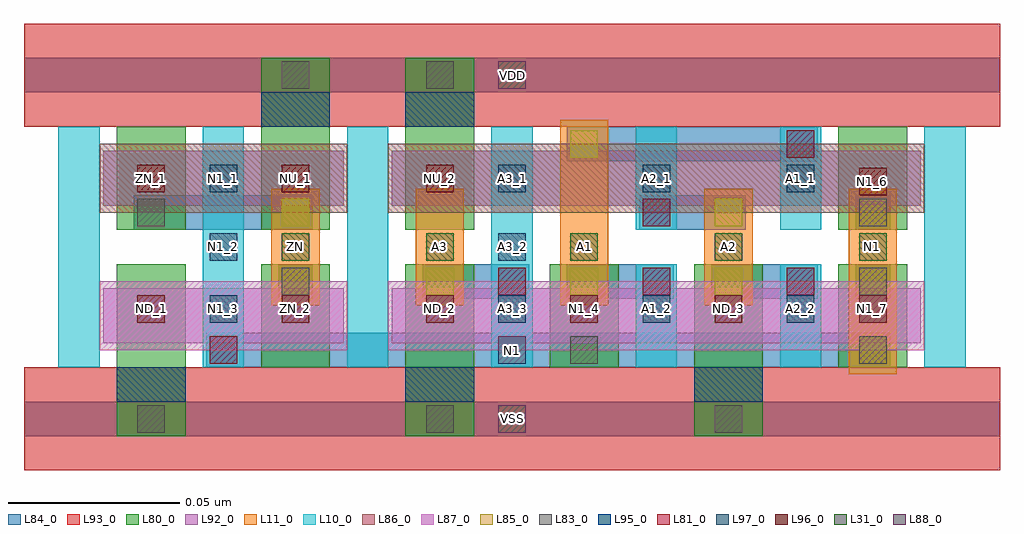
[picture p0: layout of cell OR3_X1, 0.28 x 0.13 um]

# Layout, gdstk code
import gdstk
lib = gdstk.Library(unit=1e-6, precision=1e-09)
def R(c, l, rs):  # rectangles x0, y0, x1, y1
    for r in rs: c.add(gdstk.rectangle(r[:2], r[2:], *l))
def A(c, l, x, y, w, h, nx, ny, dx, dy):  # array of equal rectangles
    R(c, l, [(x+i*dx, y+j*dy, x+i*dx+w, y+j*dy+h) for i in range(nx) for j in range(ny)])
L10_0 = (10, 0)
L11_0 = (11, 0)
L31_0 = (31, 0)
L80_0 = (80, 0)
L81_0 = (81, 0)
L83_0 = (83, 0)
L84_0 = (84, 0)
L85_0 = (85, 0)
L86_0 = (86, 0)
L87_0 = (87, 0)
L88_0 = (88, 0)
L92_0 = (92, 0)
L93_0 = (93, 0)
L95_0 = (95, 0)
L96_0 = (96, 0)
L97_0 = (97, 0)

or3_x1 = lib.new_cell('OR3_X1')
A(or3_x1, L10_0, -0.027, 0.015, 0.012, 0.07, 4, 1, 0.042, 0)
R(or3_x1, L10_0, [(0.141,0.015,0.153,0.045), (0.183,0.015,0.195,0.045), (0.225,0.015,0.237,0.085), (0.141,0.055,0.153,0.085), (0.183,0.055,0.195,0.085)])
A(or3_x1, L11_0, 0.035, 0.033, 0.014, 0.034, 3, 1, 0.042, 0)
R(or3_x1, L11_0, [(0.203,0.013,0.217,0.047), (0.203,0.013,0.217,0.047), (0.035,0.033,0.049,0.067), (0.119,0.033,0.133,0.067), (0.161,0.033,0.175,0.067), (0.161,0.033,0.175,0.067), (0.203,0.033,0.217,0.067), (0.203,0.033,0.217,0.067), (0.119,0.053,0.133,0.087), (0.119,0.053,0.133,0.087)])
A(or3_x1, L31_0, 0.038, 0.046, 0.008, 0.008, 5, 1, 0.042, 0)
A(or3_x1, L80_0, -0.01, -0.005, 0.02, 0.03, 3, 1, 0.084, 0)
A(or3_x1, L80_0, -0.01, 0.015, 0.02, 0.03, 6, 1, 0.042, 0)
A(or3_x1, L80_0, -0.01, 0.055, 0.02, 0.03, 3, 1, 0.042, 0)
R(or3_x1, L80_0, [(0.2,0.055,0.22,0.085), (0.032,0.075,0.052,0.105), (0.074,0.075,0.094,0.105)])
R(or3_x1, L81_0, [(0.017,0.016,0.025,0.024), (0.017,0.016,0.025,0.024), (0.101,0.036,0.109,0.044), (0.143,0.036,0.151,0.044), (0.143,0.036,0.151,0.044), (0.185,0.036,0.193,0.044), (0.185,0.036,0.193,0.044), (0.143,0.056,0.151,0.064), (0.143,0.056,0.151,0.064), (0.185,0.076,0.193,0.084), (0.185,0.076,0.193,0.084)])
A(or3_x1, L83_0, -0.004, -0.004, 0.008, 0.008, 3, 1, 0.084, 0)
R(or3_x1, L83_0, [(0.122,0.016,0.13,0.024), (0.122,0.016,0.13,0.024), (0.206,0.016,0.214,0.024), (0.206,0.016,0.214,0.024), (0.038,0.036,0.046,0.044), (0.038,0.036,0.046,0.044), (0.206,0.036,0.214,0.044), (0.206,0.036,0.214,0.044), (-0.004,0.056,0.004,0.064), (-0.004,0.056,0.004,0.064), (0.206,0.056,0.214,0.064), (0.206,0.056,0.214,0.064), (0.038,0.096,0.046,0.104), (0.08,0.096,0.088,0.104)])
R(or3_x1, L84_0, [(-0.037,-0.005,0.247,0.005), (0.016,0.015,0.047,0.025), (0.016,0.015,0.047,0.025), (0.037,0.015,0.068,0.025), (0.037,0.015,0.068,0.025), (0.058,0.015,0.089,0.025), (0.058,0.015,0.089,0.025), (0.079,0.015,0.11,0.025), (0.079,0.015,0.11,0.025), (0.1,0.015,0.131,0.025), (0.1,0.015,0.131,0.025), (0.121,0.015,0.152,0.025), (0.121,0.015,0.152,0.025), (0.142,0.015,0.173,0.025), (0.142,0.015,0.173,0.025), (0.163,0.015,0.194,0.025), (0.163,0.015,0.194,0.025), (0.184,0.015,0.215,0.025), (0.184,0.015,0.215,0.025), (0.037,0.035,0.047,0.045), (0.037,0.035,0.047,0.045), (0.079,0.035,0.11,0.045), (0.121,0.035,0.152,0.045), (0.121,0.035,0.152,0.045), (0.163,0.035,0.194,0.045), (0.163,0.035,0.194,0.045), (0.205,0.035,0.215,0.045), (0.205,0.035,0.215,0.045), (-0.005,0.055,0.026,0.065), (-0.005,0.055,0.026,0.065), (0.016,0.055,0.047,0.065), (0.016,0.055,0.047,0.065), (0.142,0.055,0.173,0.065), (0.142,0.055,0.173,0.065), (0.205,0.055,0.215,0.065), (0.205,0.055,0.215,0.065), (0.121,0.075,0.152,0.085), (0.121,0.075,0.152,0.085), (0.142,0.075,0.173,0.085), (0.142,0.075,0.173,0.085), (0.163,0.075,0.194,0.085), (0.163,0.075,0.194,0.085), (-0.037,0.095,0.247,0.105)])
A(or3_x1, L85_0, 0.038, 0.036, 0.008, 0.008, 3, 1, 0.042, 0)
R(or3_x1, L85_0, [(0.206,0.016,0.214,0.024), (0.206,0.016,0.214,0.024), (0.038,0.036,0.046,0.044), (0.122,0.036,0.13,0.044), (0.164,0.036,0.172,0.044), (0.164,0.036,0.172,0.044), (0.206,0.036,0.214,0.044), (0.206,0.036,0.214,0.044), (0.038,0.056,0.046,0.064), (0.038,0.056,0.046,0.064), (0.164,0.056,0.172,0.064), (0.164,0.056,0.172,0.064), (0.206,0.056,0.214,0.064), (0.206,0.056,0.214,0.064), (0.122,0.076,0.13,0.084), (0.122,0.076,0.13,0.084)])
R(or3_x1, L86_0, [(-0.015,0.06,0.057,0.08), (0.069,0.06,0.225,0.08)])
R(or3_x1, L87_0, [(-0.015,0.02,0.057,0.04), (0.069,0.02,0.225,0.04)])
R(or3_x1, L88_0, [(0.101,-0.004,0.109,0.004), (0.101,0.016,0.109,0.024), (0.101,0.096,0.109,0.104)])
R(or3_x1, L92_0, [(-0.014,0.022,0.056,0.038), (0.07,0.022,0.224,0.038), (-0.014,0.062,0.056,0.078), (0.07,0.062,0.224,0.078)])
R(or3_x1, L93_0, [(-0.037,-0.015,0.247,0.015), (-0.037,0.085,0.247,0.115)])
A(or3_x1, L95_0, -0.01, 0.005, 0.02, 0.01, 3, 1, 0.084, 0)
R(or3_x1, L95_0, [(0.032,0.085,0.052,0.095), (0.074,0.085,0.094,0.095)])
A(or3_x1, L96_0, -0.004, 0.028, 0.008, 0.008, 6, 1, 0.042, 0)
A(or3_x1, L96_0, -0.004, 0.066, 0.008, 0.008, 3, 1, 0.042, 0)
R(or3_x1, L96_0, [(0.206,0.065,0.214,0.073)])
A(or3_x1, L97_0, 0.101, 0.028, 0.008, 0.008, 3, 2, 0.042, 0.038)
R(or3_x1, L97_0, [(0.017,0.028,0.025,0.036), (0.017,0.046,0.025,0.054), (0.101,0.046,0.109,0.054), (0.017,0.066,0.025,0.074)])
or3_x1.add(gdstk.Label('N1_3', (0.021,0.032), layer=97, texttype=0))
or3_x1.add(gdstk.Label('N1_2', (0.021,0.05), layer=97, texttype=0))
or3_x1.add(gdstk.Label('N1_1', (0.021,0.07), layer=97, texttype=0))
or3_x1.add(gdstk.Label('A1_2', (0.147,0.032), layer=97, texttype=0))
or3_x1.add(gdstk.Label('A2_2', (0.189,0.032), layer=97, texttype=0))
or3_x1.add(gdstk.Label('A1_1', (0.189,0.07), layer=97, texttype=0))
or3_x1.add(gdstk.Label('A2_1', (0.147,0.07), layer=97, texttype=0))
or3_x1.add(gdstk.Label('A3_2', (0.105,0.05), layer=97, texttype=0))
or3_x1.add(gdstk.Label('A3_3', (0.105,0.032), layer=97, texttype=0))
or3_x1.add(gdstk.Label('A3_1', (0.105,0.07), layer=97, texttype=0))
or3_x1.add(gdstk.Label('ND_1', (0,0.032), layer=96, texttype=0))
or3_x1.add(gdstk.Label('ZN_1', (0,0.07), layer=96, texttype=0))
or3_x1.add(gdstk.Label('ZN_2', (0.042,0.032), layer=96, texttype=0))
or3_x1.add(gdstk.Label('NU_1', (0.042,0.07), layer=96, texttype=0))
or3_x1.add(gdstk.Label('NU_2', (0.084,0.07), layer=96, texttype=0))
or3_x1.add(gdstk.Label('ND_2', (0.084,0.032), layer=96, texttype=0))
or3_x1.add(gdstk.Label('N1_4', (0.126,0.032), layer=96, texttype=0))
or3_x1.add(gdstk.Label('ND_3', (0.168,0.032), layer=96, texttype=0))
or3_x1.add(gdstk.Label('N1_7', (0.21,0.032), layer=96, texttype=0))
or3_x1.add(gdstk.Label('N1_6', (0.21,0.069), layer=96, texttype=0))
or3_x1.add(gdstk.Label('N1', (0.105,0.02), layer=88, texttype=0))
or3_x1.add(gdstk.Label('VSS', (0.105,0), layer=88, texttype=0))
or3_x1.add(gdstk.Label('VDD', (0.105,0.1), layer=88, texttype=0))
or3_x1.add(gdstk.Label('A1', (0.126,0.05), layer=31, texttype=0))
or3_x1.add(gdstk.Label('A2', (0.168,0.05), layer=31, texttype=0))
or3_x1.add(gdstk.Label('N1', (0.21,0.05), layer=31, texttype=0))
or3_x1.add(gdstk.Label('A3', (0.084,0.05), layer=31, texttype=0))
or3_x1.add(gdstk.Label('ZN', (0.042,0.05), layer=31, texttype=0))

lib.write_gds('OR3_X1.gds')
